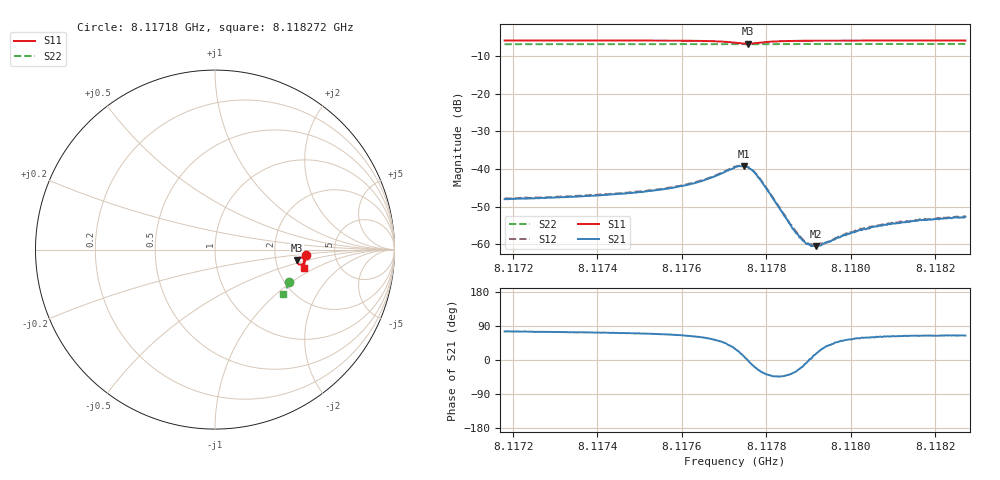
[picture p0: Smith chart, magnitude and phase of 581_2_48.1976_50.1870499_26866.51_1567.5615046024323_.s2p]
#  HZ  S  RI  R  50.00
! Rohde & Schwarz Vector Network Analyzer
! Rohde-Schwarz,ZNB20-2Port,1311601062101988,3.16
! Created: UTC 3/20/2024, 12:02:06 PM
! freq[Hz]  re:S11  im:S11  re:S21  im:S21  re:S12  im:S12  re:S22  im:S22
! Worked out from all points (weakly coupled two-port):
!   401 points, 8.11718 GHz to 8.118272 GHz, reference 50 ohm
!   highest |S21| = -39.18 dB at 8.117748 GHz (marker M1); lowest = -60.5 dB at 8.117917 GHz (marker M2)
!   lowest |S11| = -6.7 dB at 8.117756 GHz (marker M3), VSWR 2.70, Z = 132 - j20.2 ohm
!   |S11| at or under -10 dB: nowhere
!   |S22| runs from -6.9 to -6.8 dB; largest |S21 - S12| = 0.00042
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8.1171798e9  0.5057 -0.0291  0.001 0.00384  0.00108 0.00387  0.4145 -0.1804
8.1173628e9  0.5042 -0.0445  0.00126 0.00415  0.00135 0.00421  0.4096 -0.1923
8.1175457e9  0.5006 -0.0621  0.00196 0.00492  0.00201 0.00502  0.4043 -0.2042
8.1176331e9  0.4952 -0.0733  0.00309 0.00579  0.00323 0.00591  0.4016 -0.2099
8.117674e9  0.4888 -0.08  0.00454 0.00637  0.00469 0.00649  0.4 -0.2125
8.1177259e9  0.4666 -0.0817  0.00916 0.0052  0.00934 0.00537  0.3974 -0.2153
8.1177478e9  0.4562 -0.0681  0.0109 0.00169  0.011 0.00166  0.3963 -0.216
8.1177559e9  0.456 -0.0605  0.0106 -9.83e-05  0.0107 -0.00012  0.3963 -0.2161
8.1177723e9  0.4635 -0.048  0.00851 -0.00287  0.00857 -0.00281  0.3964 -0.2165
8.1177887e9  0.4747 -0.0436  0.00581 -0.00358  0.00592 -0.00369  0.3964 -0.2176
8.1178515e9  0.4954 -0.0555  0.00155 -0.00129  0.0016 -0.00135  0.3953 -0.222
8.1178734e9  0.4972 -0.0599  0.00121 -0.000658  0.00125 -0.000674  0.3948 -0.2236
8.1178897e9  0.498 -0.0628  0.00107 -0.000243  0.00109 -0.000233  0.3942 -0.2247
8.1178979e9  0.4985 -0.0642  0.00101 -8.49e-05  0.00104 -8.21e-05  0.3941 -0.2253
8.1179088e9  0.4986 -0.066  0.000944 0.000109  0.000994 0.000117  0.3937 -0.2258
8.117917e9  0.4988 -0.067  0.000914 0.000247  0.000936 0.000268  0.3933 -0.2264
8.1179416e9  0.4991 -0.0704  0.000857 0.00063  0.000876 0.000606  0.3925 -0.2281
8.117988e9  0.499 -0.076  0.000801 0.00105  0.000895 0.00107  0.391 -0.2311
8.1180181e9  0.4989 -0.0791  0.000814 0.00128  0.000842 0.00129  0.39 -0.2329
8.1180918e9  0.4982 -0.0861  0.000863 0.00163  0.000888 0.00167  0.3874 -0.2375
8.1181655e9  0.4971 -0.0926  0.000931 0.0019  0.000957 0.00191  0.3851 -0.2421
8.118272e9  0.4956 -0.1014  0.001 0.0021  0.00103 0.00214  0.3811 -0.2486
